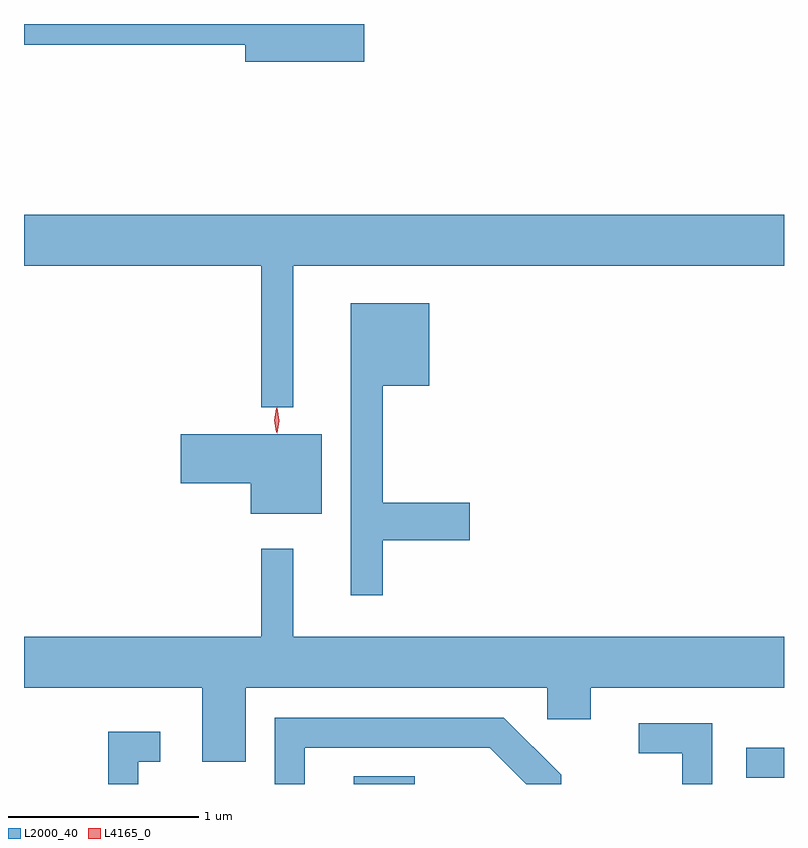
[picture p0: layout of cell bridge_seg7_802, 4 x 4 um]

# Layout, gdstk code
import gdstk
lib = gdstk.Library(unit=1e-6, precision=1e-09)
def R(c, l, rs):  # rectangles x0, y0, x1, y1
    for r in rs: c.add(gdstk.rectangle(r[:2], r[2:], *l))
def P(c, l, *ps):  # polygons
    for p in ps: c.add(gdstk.Polygon(p, *l))
L2000_40 = (2000, 40)
L4165_0 = (4165, 0)

bridge_seg7_802 = lib.new_cell('bridge_seg7_802')
R(bridge_seg7_802, L2000_40, [(286.508,1773.749,286.829,1773.789), (288.573,1773.781,288.772,1773.939)])
P(bridge_seg7_802, L2000_40, [(286.564,1777.749),(284.772,1777.749),(284.772,1777.641),(285.936,1777.641),(285.936,1777.551),(286.564,1777.551)],
  [(286.189,1776.476),(288.772,1776.476),(288.772,1776.744),(284.772,1776.744),(284.772,1776.476),(286.021,1776.476),(286.021,1775.733),(286.189,1775.733)],
  [(286.659,1775.031),(287.119,1775.031),(287.119,1775.229),(286.659,1775.229),(286.659,1775.846),(286.904,1775.846),(286.904,1776.279),(286.491,1776.279),(286.491,1774.743),(286.659,1774.743)],
  [(286.339,1775.589),(285.596,1775.589),(285.596,1775.331),(285.966,1775.331),(285.966,1775.171),(286.339,1775.171)],
  [(285.939,1774.256),(287.526,1774.256),(287.526,1774.091),(287.754,1774.091),(287.754,1774.256),(288.772,1774.256),(288.772,1774.524),(286.189,1774.524),(286.189,1774.988),(286.021,1774.988),(286.021,1774.524),(284.772,1774.524),(284.772,1774.256),(285.711,1774.256),(285.711,1773.866),(285.939,1773.866)],
  [(286.249,1773.941),(287.224,1773.941),(287.416,1773.749),(287.599,1773.749),(287.599,1773.797),(287.297,1774.099),(286.091,1774.099),(286.091,1773.749),(286.249,1773.749)],
  [(288.394,1774.069),(288.008,1774.069),(288.008,1773.911),(288.236,1773.911),(288.236,1773.749),(288.394,1773.749)],
  [(285.374,1773.866),(285.488,1773.866),(285.488,1774.024),(285.216,1774.024),(285.216,1773.749),(285.374,1773.749)])
P(bridge_seg7_802, L4165_0, [(286.105,1775.594),(286.096,1775.662),(286.104,1775.73),(286.105,1775.73),(286.106,1775.73),(286.115,1775.662),(286.106,1775.594),(286.106,1775.594)],
  [(286.1,1775.6),(286.1,1775.6),(286.09,1775.664),(286.1,1775.727),(286.1,1775.727),(286.101,1775.727),(286.11,1775.664),(286.101,1775.6)])

lib.write_gds('bridge_seg7_802.gds')
